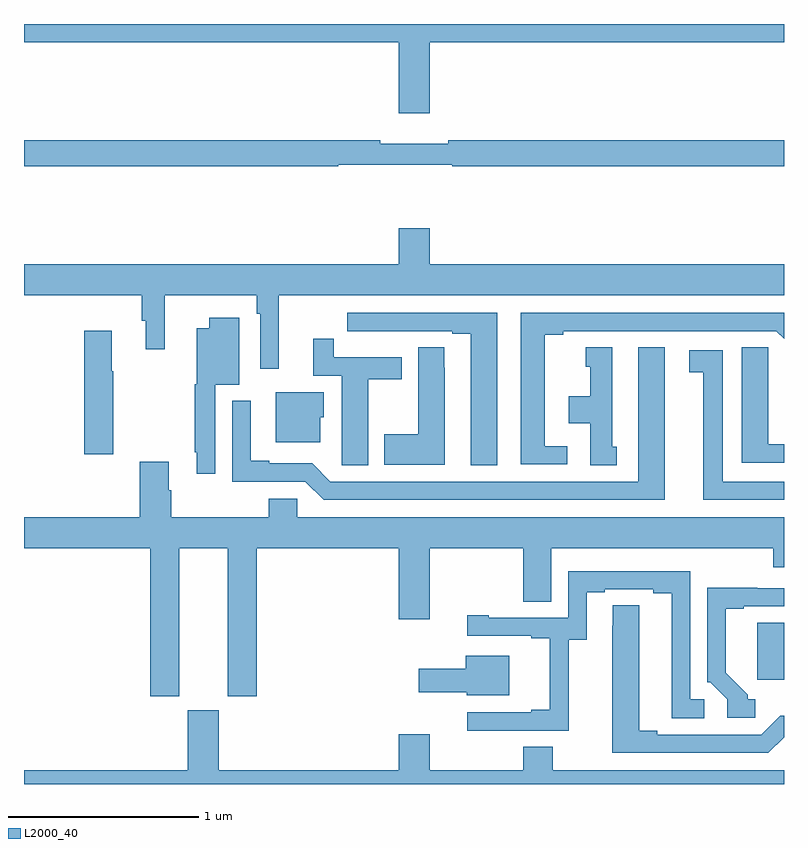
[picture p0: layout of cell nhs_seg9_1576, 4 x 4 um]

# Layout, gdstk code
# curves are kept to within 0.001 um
import gdstk
lib = gdstk.Library(unit=1e-6, precision=1e-09)
def R(c, l, rs):  # rectangles x0, y0, x1, y1
    for r in rs: c.add(gdstk.rectangle(r[:2], r[2:], *l))
def P(c, l, *ps):  # polygons
    for p in ps: c.add(gdstk.Polygon(p, *l))
L2000_40 = (2000, 40)

nhs_seg9_1576 = lib.new_cell('nhs_seg9_1576')
R(nhs_seg9_1576, L2000_40, [(202.859,1209.048,203,1209.35)])
P(nhs_seg9_1576, L2000_40, [(201.136,1212.404),(203,1212.404),(203,1212.5),(199,1212.5),(199,1212.404),(200.972,1212.404),(200.972,1212.03),(201.136,1212.03)],
  [(200.655,1211.76),(201.255,1211.76),(201.255,1211.752),(203,1211.752),(203,1211.888),(201.232,1211.888),(201.232,1211.869),(200.876,1211.869),(200.876,1211.888),(199,1211.888),(199,1211.752),(200.655,1211.752)],
  [(200.342,1211.072),(203,1211.072),(203,1211.236),(201.136,1211.236),(201.136,1211.425),(200.972,1211.425),(200.972,1211.236),(199,1211.236),(199,1211.072),(199.621,1211.072),(199.621,1210.938),(199.64,1210.938),(199.64,1210.788),(199.74,1210.788),(199.74,1211.072),(200.224,1211.072),(200.224,1210.976),(200.244,1210.976),(200.244,1210.686),(200.342,1210.686)],
  [(201.49,1210.98),(200.7,1210.98),(200.7,1210.884),(200.812,1210.884),(200.812,1210.883),(200.978,1210.883),(200.978,1210.884),(201.254,1210.884),(201.254,1210.869),(201.35,1210.869),(201.35,1210.177),(201.49,1210.177)],
  [(201.859,1210.278),(201.742,1210.278),(201.742,1210.864),(201.838,1210.864),(201.838,1210.884),(202.959,1210.884),(203,1210.843),(203,1210.979),(202.999,1210.98),(201.614,1210.98),(201.614,1210.182),(201.859,1210.182)],
  [(200.007,1210.601),(200.134,1210.601),(200.134,1210.954),(199.976,1210.954),(199.976,1210.9),(199.91,1210.9),(199.91,1210.605),(199.899,1210.605),(199.899,1210.246),(199.91,1210.246),(199.91,1210.134),(200.007,1210.134)],
  [(199.47,1210.672),(199.462,1210.672),(199.462,1210.885),(199.316,1210.885),(199.316,1210.236),(199.47,1210.236)],
  [(200.812,1210.63),(200.989,1210.63),(200.989,1210.746),(200.63,1210.746),(200.63,1210.843),(200.522,1210.843),(200.522,1210.65),(200.672,1210.65),(200.672,1210.288),(200.673,1210.288),(200.673,1210.177),(200.812,1210.177)],
  [(201.214,1210.691),(201.213,1210.691),(201.213,1210.799),(201.074,1210.799),(201.074,1210.341),(200.897,1210.341),(200.897,1210.181),(201.214,1210.181)],
  [(203,1210.288),(202.918,1210.288),(202.918,1210.691),(202.917,1210.691),(202.917,1210.799),(202.778,1210.799),(202.778,1210.191),(203,1210.191)],
  [(202.12,1210.275),(202.096,1210.275),(202.096,1210.798),(201.956,1210.798),(201.956,1210.695),(201.98,1210.695),(201.98,1210.54),(201.866,1210.54),(201.866,1210.4),(201.98,1210.4),(201.98,1210.177),(202.12,1210.177)],
  [(202.372,1210.798),(202.232,1210.798),(202.232,1210.092),(200.613,1210.092),(200.517,1210.188),(200.29,1210.188),(200.29,1210.201),(200.194,1210.201),(200.194,1210.516),(200.097,1210.516),(200.097,1210.092),(200.481,1210.092),(200.577,1209.996),(202.372,1209.996)],
  [(203,1210.092),(202.678,1210.092),(202.678,1210.782),(202.5,1210.782),(202.5,1210.666),(202.574,1210.666),(202.574,1209.996),(203,1209.996)],
  [(200.56,1210.431),(200.578,1210.431),(200.578,1210.561),(200.324,1210.561),(200.324,1210.298),(200.56,1210.298)],
  [(199.664,1208.961),(199.816,1208.961),(199.816,1209.74),(200.072,1209.74),(200.072,1208.961),(200.225,1208.961),(200.225,1209.74),(200.972,1209.74),(200.972,1209.366),(201.136,1209.366),(201.136,1209.74),(201.628,1209.74),(201.628,1209.46),(201.775,1209.46),(201.775,1209.74),(202.943,1209.74),(202.943,1209.642),(203,1209.642),(203,1209.904),(200.439,1209.904),(200.439,1210.002),(200.288,1210.002),(200.288,1209.904),(199.775,1209.904),(199.775,1210.046),(199.762,1210.046),(199.762,1210.195),(199.61,1210.195),(199.61,1209.904),(199,1209.904),(199,1209.74),(199.664,1209.74)],
  [(201.867,1209.259),(201.961,1209.259),(201.961,1209.51),(202.057,1209.51),(202.057,1209.525),(202.313,1209.525),(202.313,1209.505),(202.409,1209.505),(202.409,1208.845),(202.579,1208.845),(202.579,1208.946),(202.506,1208.946),(202.506,1209.621),(201.864,1209.621),(201.864,1209.375),(201.445,1209.375),(201.445,1209.388),(201.333,1209.388),(201.333,1209.279),(201.671,1209.279),(201.671,1209.267),(201.767,1209.267),(201.767,1208.89),(201.671,1208.89),(201.671,1208.877),(201.333,1208.877),(201.333,1208.781),(201.867,1208.781)],
  [(202.849,1208.946),(202.81,1208.946),(202.81,1208.97),(202.693,1209.086),(202.693,1209.423),(202.789,1209.423),(202.789,1209.435),(203,1209.435),(203,1209.531),(202.859,1209.531),(202.859,1209.533),(202.596,1209.533),(202.596,1209.036),(202.611,1209.036),(202.701,1208.946),(202.701,1208.85),(202.849,1208.85)],
  [(203,1208.747),(203,1208.858),(202.979,1208.858),(202.881,1208.76),(202.333,1208.76),(202.333,1208.78),(202.237,1208.78),(202.237,1209.44),(202.098,1209.44),(202.097,1208.664),(202.917,1208.664)],
  [(201.553,1209.175),(201.326,1209.175),(201.326,1209.106),(201.078,1209.106),(201.078,1208.984),(201.33,1208.984),(201.33,1208.966),(201.553,1208.966)],
  [(203,1208.572),(201.783,1208.572),(201.783,1208.696),(201.628,1208.696),(201.628,1208.572),(201.136,1208.572),(201.136,1208.761),(200.972,1208.761),(200.972,1208.572),(200.026,1208.572),(200.026,1208.889),(199.862,1208.889),(199.862,1208.572),(199,1208.572),(199,1208.5),(203,1208.5)])

lib.write_gds('nhs_seg9_1576.gds')
